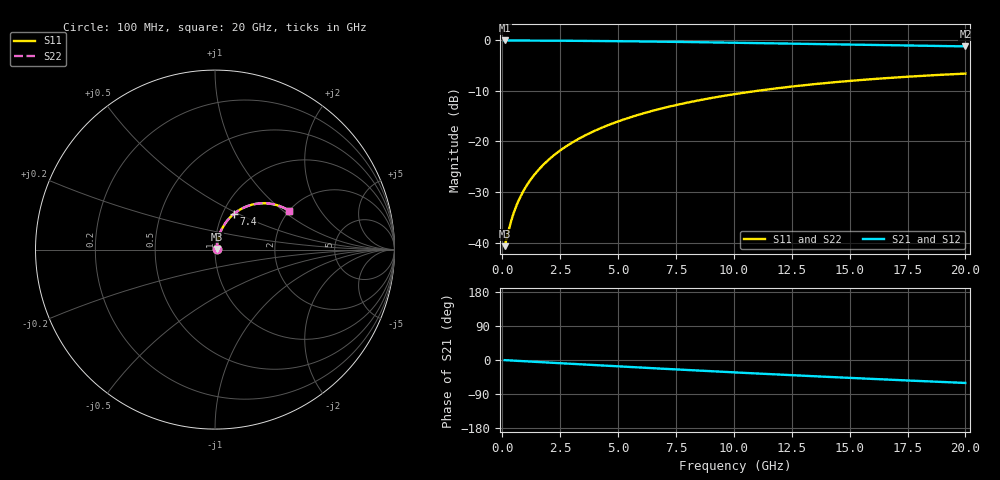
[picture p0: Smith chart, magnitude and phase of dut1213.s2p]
! Touchstone file exported from HFSS 2026.1.0
!  File:  C:/ffzhzh/LocalFiles/Ansys_Project_Files/temp_train_TMRDL_1213_1783163187_18472.aedt
!  Generated:  07:07:57 PM Jul  4, 2026
!  Design:  TMRDL
!  Project:  temp_train_TMRDL_1213_1783163187_18472
! Variables:
!  h_bsmrdl = 2um
!  h_ox = 20um
!  h_rdl = 5um
!  h_sub = 80um
!  h_tmrdl = 2.32um
!  h_tsv = 80um
!  h_via = 3um
!  l_bsmrdl = 300um
!  l_sub = 1376.61um
!  l_tmrdl = 976.61um
!  m_sub = 200um
!  pitch = 35.82um
!  r_tsv = 6um
!  s_tmrdl = 10um
!  w_bsmrdl = 18um
!  w_sub = 500um
!  w_tmrdl = 17.67um
!  x_tsv_center1 = 985.445um
!  x_tsv_center2 = 1303.445um
!  x_tsv_center3 = 2297.725um
!  x_tsv_center4 = 2615.725um
!  x_tsv_center5 = 3610.005um
!  x_tsv_center6 = 3928.005um
# GHz S MA R 50.000000
! Terminal data exported
! Port[1] = TM_RDL1_1_T1
! Port[2] = TM_RDL1_1_T2
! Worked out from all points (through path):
!   200 points, 100 MHz to 20 GHz, reference 50 ohm
!   highest |S21| = -0.07 dB at 100 MHz (marker M1); lowest = -1.2 dB at 20 GHz (marker M2)
!   group delay of S21, straight-line fit = 8.43 ps
!   lowest |S11| = -40.7 dB at 100 MHz (marker M3), VSWR 1.02, Z = 50.9 + j0.365 ohm
!   |S11| at or under -10 dB: start of sweep to 11.04 GHz
!   |S22| runs from -40.7 to -6.6 dB; largest |S21 - S12| = 1e-14
!   S11 on the Smith chart (normalised r, x): 100 MHz: 1.02, +0.01; 7.4 GHz: 1.13, +0.47; 20 GHz: 2.01, +1.11
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0.1  0.009245 22.8  0.9915 -0.4  0.9915 -0.4  0.009245 22.8
! Gamma 0 0 0 0
! Port Impedance 50 0 50 0
0.4  0.01687 55.6  0.9907 -1.4  0.9907 -1.4  0.01687 55.6
0.6  0.02292 62.8  0.9901 -2.1  0.9901 -2.1  0.02292 62.8
0.7  0.02596 65.0  0.9898 -2.5  0.9898 -2.5  0.02596 65.0
0.9  0.03204 68.1  0.9892 -3.1  0.9892 -3.1  0.03204 68.1
1.2  0.0412 70.8  0.9885 -4.1  0.9885 -4.1  0.0412 70.8
1.4  0.04734 71.9  0.9881 -4.8  0.9881 -4.8  0.04734 71.9
1.7  0.05659 72.9  0.9874 -5.8  0.9874 -5.8  0.05659 72.9
2.2  0.07208 73.5  0.9862 -7.5  0.9862 -7.5  0.07208 73.5
2.8  0.09066 73.2  0.9844 -9.5  0.9844 -9.5  0.09066 73.2
3.5  0.1122 72.2  0.982 -11.8  0.982 -11.8  0.1122 72.2
4.2  0.1335 70.7  0.979 -14.1  0.979 -14.1  0.1335 70.7
5  0.1574 68.7  0.9752 -16.8  0.9752 -16.8  0.1574 68.7
5.9  0.1836 66.3  0.9703 -19.7  0.9703 -19.7  0.1836 66.3
6.8  0.2091 63.8  0.9648 -22.6  0.9648 -22.6  0.2091 63.8
7.4  0.2256 62.1  0.9608 -24.5  0.9608 -24.5  0.2256 62.1
8.7  0.2598 58.3  0.9516 -28.6  0.9516 -28.6  0.2598 58.3
10.1  0.2944 54.2  0.941 -32.9  0.941 -32.9  0.2944 54.3
11.7  0.3308 49.6  0.9283 -37.7  0.9283 -37.7  0.3308 49.7
13.4  0.3658 44.9  0.9146 -42.7  0.9146 -42.7  0.3658 44.9
16.7  0.4231 35.9  0.8891 -51.9  0.8891 -51.9  0.4231 35.9
20  0.4669 27.4  0.8667 -60.6  0.8667 -60.6  0.467 27.4
